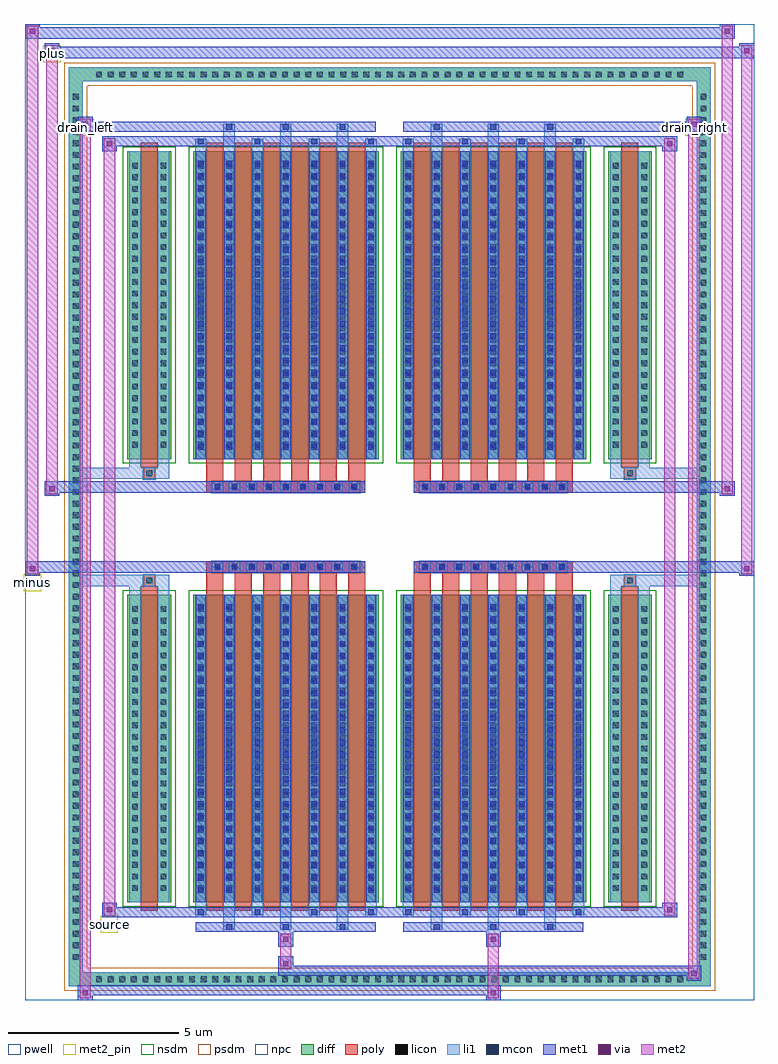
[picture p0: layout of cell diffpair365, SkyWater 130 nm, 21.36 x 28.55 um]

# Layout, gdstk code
import gdstk
lib = gdstk.Library(unit=1e-6, precision=5e-09)
def R(c, l, rs):  # rectangles x0, y0, x1, y1
    for r in rs: c.add(gdstk.rectangle(r[:2], r[2:], *l))
def A(c, l, x, y, w, h, nx, ny, dx, dy):  # array of equal rectangles
    R(c, l, [(x+i*dx, y+j*dy, x+i*dx+w, y+j*dy+h) for i in range(nx) for j in range(ny)])
def P(c, l, *ps):  # polygons
    for p in ps: c.add(gdstk.Polygon(p, *l))
pwell = (64, 44)
diff = (65, 20)
poly = (66, 20)
licon = (66, 44)
li1 = (67, 20)
mcon = (67, 44)
met1 = (68, 20)
via = (68, 44)
met2_pin = (69, 16)
met2 = (69, 20)
nsdm = (93, 44)
psdm = (94, 20)
npc = (95, 20)

diffpair365 = lib.new_cell('diffpair365')
R(diffpair365, pwell, [(-10.66,-13.84,10.66,14.71), (-7.98,-12.03,-0.01,-0.805), (0.01,-12.03,7.98,-0.805), (-7.98,0.805,-0.01,12.03), (0.01,0.805,7.98,12.03)])
A(diffpair365, diff, -8.705, -13.44, 0.41, 0.41, 51, 2, 0.34, 26.47)
A(diffpair365, diff, -9.39, -12.785, 0.41, 0.41, 1, 75, 0, 0.34)
A(diffpair365, diff, 8.98, -12.785, 0.41, 0.41, 1, 75, 0, 0.34)
R(diffpair365, diff, [(-8.705,-13.44,8.705,-13.03), (-9.39,-12.785,-8.98,12.785), (8.98,-12.785,9.39,12.785), (-7.67,-10.985,-6.39,-1.985), (-5.75,-10.985,-0.32,-1.985), (0.32,-10.985,5.75,-1.985), (6.39,-10.985,7.67,-1.985), (-7.67,1.985,-6.39,10.985), (-5.75,1.985,-0.32,10.985), (0.32,1.985,5.75,10.985), (6.39,1.985,7.67,10.985), (-8.705,13.03,8.705,13.44)])
P(diffpair365, diff, [(9.39,13.44),(-9.39,13.44),(-9.39,-13.03),(-8.98,-13.03),(-8.98,13.03),(8.98,13.03),(8.98,-13.03),(-8.98,-13.03),(-9.39,-13.03),(-9.39,-13.44),(9.39,-13.44)])
A(diffpair365, poly, -5.36, -11.235, 0.5, 9.5, 6, 2, 0.83, 12.97)
A(diffpair365, poly, 0.71, -11.235, 0.5, 9.5, 6, 2, 0.83, 12.97)
A(diffpair365, poly, -5.36, -1.735, 0.5, 0.4, 6, 2, 0.83, 3.07)
A(diffpair365, poly, 0.71, -1.735, 0.5, 0.4, 6, 2, 0.83, 3.07)
A(diffpair365, poly, -5.2, -1.335, 0.33, 0.33, 9, 2, 0.5, 2.34)
A(diffpair365, poly, 0.87, -1.335, 0.33, 0.33, 9, 2, 0.5, 2.34)
R(diffpair365, poly, [(-7.28,-11.235,-6.78,-1.735), (6.78,-11.235,7.28,-1.735), (-7.195,-1.735,-6.865,-1.405), (-7.195,-1.735,-6.865,-1.405), (6.865,-1.735,7.195,-1.405), (6.865,-1.735,7.195,-1.405), (-5.36,-1.335,-0.71,-1.005), (0.71,-1.335,5.36,-1.005), (-5.36,1.005,-0.71,1.335), (0.71,1.005,5.36,1.335), (-7.195,1.405,-6.865,1.735), (-7.195,1.405,-6.865,1.735), (6.865,1.405,7.195,1.735), (6.865,1.405,7.195,1.735), (-7.28,1.735,-6.78,11.235), (6.78,1.735,7.28,11.235)])
A(diffpair365, licon, -8.585, -13.32, 0.17, 0.17, 51, 2, 0.34, 26.47)
A(diffpair365, licon, -9.27, -12.665, 0.17, 0.17, 1, 75, 0, 0.34)
A(diffpair365, licon, 9.1, -12.665, 0.17, 0.17, 1, 75, 0, 0.34)
A(diffpair365, licon, -7.53, -10.65, 0.17, 0.17, 1, 25, 0, 0.34)
A(diffpair365, licon, -6.7, -10.65, 0.17, 0.17, 1, 25, 0, 0.34)
A(diffpair365, licon, -5.61, -10.65, 0.17, 0.17, 7, 25, 0.83, 0.34)
A(diffpair365, licon, 0.46, -10.65, 0.17, 0.17, 7, 25, 0.83, 0.34)
A(diffpair365, licon, 6.53, -10.65, 0.17, 0.17, 1, 25, 0, 0.34)
A(diffpair365, licon, 7.36, -10.65, 0.17, 0.17, 1, 25, 0, 0.34)
A(diffpair365, licon, -5.12, -1.255, 0.17, 0.17, 9, 2, 0.5, 2.34)
A(diffpair365, licon, 0.95, -1.255, 0.17, 0.17, 9, 2, 0.5, 2.34)
A(diffpair365, licon, -7.53, 2.32, 0.17, 0.17, 1, 25, 0, 0.34)
A(diffpair365, licon, -6.7, 2.32, 0.17, 0.17, 1, 25, 0, 0.34)
A(diffpair365, licon, -5.61, 2.32, 0.17, 0.17, 7, 25, 0.83, 0.34)
A(diffpair365, licon, 0.46, 2.32, 0.17, 0.17, 7, 25, 0.83, 0.34)
A(diffpair365, licon, 6.53, 2.32, 0.17, 0.17, 1, 25, 0, 0.34)
A(diffpair365, licon, 7.36, 2.32, 0.17, 0.17, 1, 25, 0, 0.34)
R(diffpair365, licon, [(-7.115,-1.655,-6.945,-1.485), (6.945,-1.655,7.115,-1.485), (-7.115,1.485,-6.945,1.655), (6.945,1.485,7.115,1.655)])
A(diffpair365, li1, -8.665, -13.4, 0.33, 0.33, 51, 2, 0.34, 26.47)
A(diffpair365, li1, -9.35, -12.745, 0.33, 0.33, 1, 75, 0, 0.34)
A(diffpair365, li1, 9.02, -12.745, 0.33, 0.33, 1, 75, 0, 0.34)
A(diffpair365, li1, -4.86, -11.79, 0.33, 0.805, 3, 2, 1.66, 22.775)
A(diffpair365, li1, -4.78, -11.79, 0.17, 0.17, 3, 2, 1.66, 23.41)
A(diffpair365, li1, 1.21, -11.79, 0.33, 0.805, 3, 2, 1.66, 22.775)
A(diffpair365, li1, 1.29, -11.79, 0.17, 0.17, 3, 2, 1.66, 23.41)
A(diffpair365, li1, -5.69, -11.36, 0.33, 0.375, 4, 2, 1.66, 22.345)
A(diffpair365, li1, -5.61, -11.36, 0.17, 0.17, 4, 2, 1.66, 22.55)
A(diffpair365, li1, 0.38, -11.36, 0.33, 0.375, 4, 2, 1.66, 22.345)
A(diffpair365, li1, 0.46, -11.36, 0.17, 0.17, 4, 2, 1.66, 22.55)
A(diffpair365, li1, -5.69, -10.985, 0.33, 9, 7, 2, 0.83, 12.97)
A(diffpair365, li1, 0.38, -10.985, 0.33, 9, 7, 2, 0.83, 12.97)
A(diffpair365, li1, -7.61, -10.73, 0.33, 0.33, 1, 25, 0, 0.34)
A(diffpair365, li1, -6.78, -10.73, 0.33, 0.33, 1, 25, 0, 0.34)
A(diffpair365, li1, -5.69, -10.73, 0.33, 0.33, 7, 25, 0.83, 0.34)
A(diffpair365, li1, 0.38, -10.73, 0.33, 0.33, 7, 25, 0.83, 0.34)
A(diffpair365, li1, 6.45, -10.73, 0.33, 0.33, 1, 25, 0, 0.34)
A(diffpair365, li1, 7.28, -10.73, 0.33, 0.33, 1, 25, 0, 0.34)
A(diffpair365, li1, -5.61, -10.71, 0.17, 0.17, 7, 24, 0.83, 0.36)
A(diffpair365, li1, -5.61, -10.71, 0.17, 8.45, 7, 2, 0.83, 12.97)
A(diffpair365, li1, 0.46, -10.71, 0.17, 0.17, 7, 24, 0.83, 0.36)
A(diffpair365, li1, 0.46, -10.71, 0.17, 8.45, 7, 2, 0.83, 12.97)
A(diffpair365, li1, -5.2, -1.335, 0.33, 0.33, 9, 2, 0.5, 2.34)
A(diffpair365, li1, 0.87, -1.335, 0.33, 0.33, 9, 2, 0.5, 2.34)
A(diffpair365, li1, -7.61, 2.24, 0.33, 0.33, 1, 25, 0, 0.34)
A(diffpair365, li1, -6.78, 2.24, 0.33, 0.33, 1, 25, 0, 0.34)
A(diffpair365, li1, -5.69, 2.24, 0.33, 0.33, 7, 25, 0.83, 0.34)
A(diffpair365, li1, 0.38, 2.24, 0.33, 0.33, 7, 25, 0.83, 0.34)
A(diffpair365, li1, 6.45, 2.24, 0.33, 0.33, 1, 25, 0, 0.34)
A(diffpair365, li1, 7.28, 2.24, 0.33, 0.33, 1, 25, 0, 0.34)
A(diffpair365, li1, -5.61, 2.26, 0.17, 0.17, 7, 24, 0.83, 0.36)
A(diffpair365, li1, 0.46, 2.26, 0.17, 0.17, 7, 24, 0.83, 0.36)
R(diffpair365, li1, [(-9.39,-13.44,-8.98,-13.03), (-9.39,-13.44,-8.98,-13.03), (-8.98,-13.44,8.98,-13.03), (8.98,-13.44,9.39,-13.03), (8.98,-13.44,9.39,-13.03), (-9.39,-13.03,-8.98,13.03), (8.98,-13.03,9.39,13.03), (-7.61,-10.985,-7.28,-1.985), (-6.78,-10.985,-6.45,-1.985), (6.45,-10.985,6.78,-1.985), (7.28,-10.985,7.61,-1.985), (-7.61,-1.985,-7.28,-1.405), (-6.78,-1.985,-6.45,-1.405), (6.45,-1.985,6.78,-1.405), (7.28,-1.985,7.61,-1.405), (-9.39,-1.735,-7.195,-1.405), (-7.61,-1.735,-7.195,-1.405), (-7.195,-1.735,-6.865,-1.405), (-6.865,-1.735,-6.45,-1.405), (6.45,-1.735,6.865,-1.405), (6.865,-1.735,7.195,-1.405), (6.865,-1.735,9.39,-1.405), (7.195,-1.735,7.61,-1.405), (-9.39,1.405,-7.195,1.735), (-7.61,1.405,-7.195,1.735), (-7.61,1.405,-7.28,1.985), (-7.195,1.405,-6.865,1.735), (-6.865,1.405,-6.45,1.735), (-6.78,1.405,-6.45,1.985), (6.45,1.405,6.865,1.735), (6.45,1.405,6.78,1.985), (6.865,1.405,7.195,1.735), (6.865,1.405,9.39,1.735), (7.195,1.405,7.61,1.735), (7.28,1.405,7.61,1.985), (-7.61,1.985,-7.28,10.985), (-6.78,1.985,-6.45,10.985), (6.45,1.985,6.78,10.985), (7.28,1.985,7.61,10.985), (-9.39,13.03,-8.98,13.44), (-9.39,13.03,-8.98,13.44), (-8.98,13.03,8.98,13.44), (8.98,13.03,9.39,13.44), (8.98,13.03,9.39,13.44)])
A(diffpair365, mcon, -4.78, -11.79, 0.17, 0.17, 3, 2, 1.66, 23.41)
A(diffpair365, mcon, 1.29, -11.79, 0.17, 0.17, 3, 2, 1.66, 23.41)
A(diffpair365, mcon, -5.61, -11.36, 0.17, 0.17, 4, 2, 1.66, 22.55)
A(diffpair365, mcon, 0.46, -11.36, 0.17, 0.17, 4, 2, 1.66, 22.55)
A(diffpair365, mcon, -5.61, -10.71, 0.17, 0.17, 7, 24, 0.83, 0.36)
A(diffpair365, mcon, 0.46, -10.71, 0.17, 0.17, 7, 24, 0.83, 0.36)
A(diffpair365, mcon, -5.12, -1.255, 0.17, 0.17, 9, 2, 0.5, 2.34)
A(diffpair365, mcon, 0.95, -1.255, 0.17, 0.17, 9, 2, 0.5, 2.34)
A(diffpair365, mcon, -5.61, 2.26, 0.17, 0.17, 7, 24, 0.83, 0.36)
A(diffpair365, mcon, 0.46, 2.26, 0.17, 0.17, 7, 24, 0.83, 0.36)
A(diffpair365, met1, -4.84, -11.85, 0.29, 0.29, 3, 2, 1.66, 23.41)
A(diffpair365, met1, 1.23, -11.85, 0.29, 0.29, 3, 2, 1.66, 23.41)
A(diffpair365, met1, -5.67, -11.42, 0.29, 0.29, 4, 2, 1.66, 22.55)
A(diffpair365, met1, 0.4, -11.42, 0.29, 0.29, 4, 2, 1.66, 22.55)
A(diffpair365, met1, -5.67, -10.985, 0.29, 9, 7, 2, 0.83, 12.97)
A(diffpair365, met1, 0.4, -10.985, 0.29, 9, 7, 2, 0.83, 12.97)
A(diffpair365, met1, -5.67, -10.77, 0.29, 0.29, 7, 24, 0.83, 0.36)
A(diffpair365, met1, 0.4, -10.77, 0.29, 0.29, 7, 24, 0.83, 0.36)
A(diffpair365, met1, -5.18, -1.315, 0.29, 0.29, 9, 2, 0.5, 2.34)
A(diffpair365, met1, 0.89, -1.315, 0.29, 0.29, 9, 2, 0.5, 2.34)
A(diffpair365, met1, -5.67, 2.2, 0.29, 0.29, 7, 24, 0.83, 0.36)
A(diffpair365, met1, 0.4, 2.2, 0.29, 0.29, 7, 24, 0.83, 0.36)
R(diffpair365, met1, [(-9.12,-13.84,-8.69,-13.41), (2.82,-13.84,3.25,-13.41), (-9.12,-13.7,3.25,-13.41), (8.69,-13.27,9.12,-12.84), (-3.25,-13.13,9.12,-12.84), (-3.25,-12.99,-2.82,-12.56), (-3.25,-12.28,-2.82,-11.85), (2.82,-12.28,3.25,-11.85), (-5.67,-11.85,-0.4,-11.56), (0.4,-11.85,5.67,-11.56), (-8.41,-11.42,-7.98,-10.99), (-8.41,-11.42,-5.67,-11.13), (-5.67,-11.42,-0.4,-11.13), (-0.4,-11.42,0.4,-11.13), (0.4,-11.42,5.67,-11.13), (5.67,-11.42,8.41,-11.13), (7.98,-11.42,8.41,-10.99), (-10.66,-1.435,-10.23,-1.005), (10.23,-1.435,10.66,-1.005), (-10.66,-1.335,-0.71,-1.005), (-5.36,-1.335,-0.71,-1.005), (0.71,-1.335,5.36,-1.005), (0.71,-1.335,10.66,-1.005), (-10.09,0.905,-9.66,1.335), (9.66,0.905,10.09,1.335), (-10.09,1.005,-5.36,1.335), (-5.36,1.005,-0.71,1.335), (0.71,1.005,5.36,1.335), (5.36,1.005,10.09,1.335), (-8.41,10.99,-7.98,11.42), (7.98,10.99,8.41,11.42), (-8.41,11.13,-5.67,11.42), (-5.67,11.13,-0.4,11.42), (-0.4,11.13,0.4,11.42), (0.4,11.13,5.67,11.42), (5.67,11.13,8.41,11.42), (-9.12,11.56,-8.69,11.99), (-9.12,11.56,-5.67,11.85), (-5.67,11.56,-0.4,11.85), (0.4,11.56,5.67,11.85), (5.67,11.56,9.12,11.85), (8.69,11.56,9.12,11.99), (-10.09,13.71,-9.66,14.14), (-10.09,13.71,-7.98,14.04), (-7.98,13.71,7.98,14.04), (7.98,13.71,10.66,14.04), (10.23,13.71,10.66,14.14), (-10.66,14.28,-10.23,14.71), (-10.66,14.28,-7.98,14.61), (-7.98,14.28,7.98,14.61), (7.98,14.28,10.09,14.61), (9.66,14.28,10.09,14.71)])
R(diffpair365, via, [(-8.98,-13.7,-8.83,-13.55), (2.96,-13.7,3.11,-13.55), (8.83,-13.13,8.98,-12.98), (-3.11,-12.85,-2.96,-12.7), (-3.11,-12.14,-2.96,-11.99), (2.96,-12.14,3.11,-11.99), (-8.27,-11.28,-8.12,-11.13), (8.12,-11.28,8.27,-11.13), (-10.52,-1.295,-10.37,-1.145), (10.37,-1.295,10.52,-1.145), (-9.95,1.045,-9.8,1.195), (9.8,1.045,9.95,1.195), (-8.27,11.13,-8.12,11.28), (8.12,11.13,8.27,11.28), (-8.98,11.7,-8.83,11.85), (8.83,11.7,8.98,11.85), (-9.95,13.85,-9.8,14), (10.37,13.85,10.52,14), (-10.52,14.42,-10.37,14.57), (9.8,14.42,9.95,14.57)])
R(diffpair365, met2_pin, [(-8.445,-11.87,-7.945,-11.37), (-10.695,-1.885,-10.195,-1.385), (-9.155,11.44,-8.655,11.94), (8.655,11.44,9.155,11.94), (-10.125,13.59,-9.625,14.09)])
R(diffpair365, met2, [(-9.07,-13.79,-8.74,-13.46), (-9.07,-13.79,-8.74,11.94), (2.87,-13.79,3.2,-13.46), (2.87,-13.46,3.2,-12.23), (8.74,-13.22,9.07,-12.89), (8.74,-13.22,9.07,11.94), (-3.2,-12.94,-2.87,-12.61), (-3.2,-12.61,-2.87,-12.23), (-3.2,-12.23,-2.87,-11.9), (2.87,-12.23,3.2,-11.9), (-8.36,-11.37,-8.03,-11.04), (-8.36,-11.37,-8.03,11.37), (8.03,-11.37,8.36,-11.04), (8.03,-11.37,8.36,11.37), (-10.61,-1.385,-10.28,-1.055), (-10.61,-1.385,-10.28,14.66), (10.28,-1.385,10.61,-1.055), (10.28,-1.385,10.61,14.09), (-10.04,0.955,-9.71,1.285), (-10.04,0.955,-9.71,14.09), (9.71,0.955,10.04,1.285), (9.71,0.955,10.04,14.66), (-8.36,11.04,-8.03,11.37), (8.03,11.04,8.36,11.37), (-9.07,11.61,-8.74,11.94), (8.74,11.61,9.07,11.94), (-10.04,13.76,-9.71,14.09), (10.28,13.76,10.61,14.09), (-10.61,14.33,-10.28,14.66), (9.71,14.33,10.04,14.66)])
P(diffpair365, met2, [(10.61,-1.385),(10.61,-1.385),(10.61,-1.055),(10.61,-1.055)],
  [(10.61,13.76),(10.61,13.76),(10.61,14.09),(10.61,14.09)],
  [(-10.28,-1.385),(-10.28,-1.385),(-10.28,-1.055),(-10.28,-1.055)],
  [(-10.28,14.33),(-10.28,14.33),(-10.28,14.66),(-10.28,14.66)],
  [(10.04,0.955),(10.04,0.955),(10.04,1.285),(10.04,1.285)],
  [(10.04,14.33),(10.04,14.33),(10.04,14.66),(10.04,14.66)],
  [(-9.71,0.955),(-9.71,0.955),(-9.71,1.285),(-9.71,1.285)],
  [(-9.71,13.76),(-9.71,13.76),(-9.71,14.09),(-9.71,14.09)],
  [(-8.74,-13.79),(-8.74,-13.79),(-8.74,-13.46),(-8.74,-13.46)],
  [(-8.74,11.61),(-8.74,11.61),(-8.74,11.94),(-8.74,11.94)],
  [(9.07,-13.22),(9.07,-13.22),(9.07,-12.89),(9.07,-12.89)],
  [(9.07,11.61),(9.07,11.61),(9.07,11.94),(9.07,11.94)],
  [(-8.03,-11.37),(-8.03,-11.37),(-8.03,-11.04),(-8.03,-11.04)],
  [(-8.03,11.04),(-8.03,11.04),(-8.03,11.37),(-8.03,11.37)],
  [(8.36,-11.37),(8.36,-11.37),(8.36,-11.04),(8.36,-11.04)],
  [(8.36,11.04),(8.36,11.04),(8.36,11.37),(8.36,11.37)])
R(diffpair365, nsdm, [(-7.8,-11.115,-6.26,-1.855), (-5.88,-11.115,-0.19,-1.855), (0.19,-11.115,5.88,-1.855), (6.26,-11.115,7.8,-1.855), (-7.8,1.855,-6.26,11.115), (-5.88,1.855,-0.19,11.115), (0.19,1.855,5.88,11.115), (6.26,1.855,7.8,11.115)])
P(diffpair365, psdm, [(9.52,13.57),(-9.52,13.57),(-9.52,-12.9),(-8.85,-12.9),(-8.85,12.9),(8.85,12.9),(8.85,-12.9),(-8.85,-12.9),(-9.52,-12.9),(-9.52,-13.57),(9.52,-13.57)])
A(diffpair365, npc, -5.22, -1.355, 0.37, 0.37, 9, 2, 0.5, 2.34)
A(diffpair365, npc, 0.85, -1.355, 0.37, 0.37, 9, 2, 0.5, 2.34)
R(diffpair365, npc, [(-7.215,-1.755,-6.845,-1.385), (6.845,-1.755,7.215,-1.385), (-5.22,-1.355,-4.35,-0.985), (-5.22,-1.355,-4.35,-0.985), (-4.72,-1.355,-3.85,-0.985), (-4.72,-1.355,-3.85,-0.985), (-4.22,-1.355,-3.35,-0.985), (-4.22,-1.355,-3.35,-0.985), (-3.72,-1.355,-2.85,-0.985), (-3.72,-1.355,-2.85,-0.985), (-3.22,-1.355,-2.35,-0.985), (-3.22,-1.355,-2.35,-0.985), (-2.72,-1.355,-1.85,-0.985), (-2.72,-1.355,-1.85,-0.985), (-2.22,-1.355,-1.35,-0.985), (-2.22,-1.355,-1.35,-0.985), (-1.72,-1.355,-0.85,-0.985), (-1.72,-1.355,-0.85,-0.985), (0.85,-1.355,1.72,-0.985), (0.85,-1.355,1.72,-0.985), (1.35,-1.355,2.22,-0.985), (1.35,-1.355,2.22,-0.985), (1.85,-1.355,2.72,-0.985), (1.85,-1.355,2.72,-0.985), (2.35,-1.355,3.22,-0.985), (2.35,-1.355,3.22,-0.985), (2.85,-1.355,3.72,-0.985), (2.85,-1.355,3.72,-0.985), (3.35,-1.355,4.22,-0.985), (3.35,-1.355,4.22,-0.985), (3.85,-1.355,4.72,-0.985), (3.85,-1.355,4.72,-0.985), (4.35,-1.355,5.22,-0.985), (4.35,-1.355,5.22,-0.985), (-5.22,0.985,-4.35,1.355), (-5.22,0.985,-4.35,1.355), (-4.72,0.985,-3.85,1.355), (-4.72,0.985,-3.85,1.355), (-4.22,0.985,-3.35,1.355), (-4.22,0.985,-3.35,1.355), (-3.72,0.985,-2.85,1.355), (-3.72,0.985,-2.85,1.355), (-3.22,0.985,-2.35,1.355), (-3.22,0.985,-2.35,1.355), (-2.72,0.985,-1.85,1.355), (-2.72,0.985,-1.85,1.355), (-2.22,0.985,-1.35,1.355), (-2.22,0.985,-1.35,1.355), (-1.72,0.985,-0.85,1.355), (-1.72,0.985,-0.85,1.355), (0.85,0.985,1.72,1.355), (0.85,0.985,1.72,1.355), (1.35,0.985,2.22,1.355), (1.35,0.985,2.22,1.355), (1.85,0.985,2.72,1.355), (1.85,0.985,2.72,1.355), (2.35,0.985,3.22,1.355), (2.35,0.985,3.22,1.355), (2.85,0.985,3.72,1.355), (2.85,0.985,3.72,1.355), (3.35,0.985,4.22,1.355), (3.35,0.985,4.22,1.355), (3.85,0.985,4.72,1.355), (3.85,0.985,4.72,1.355), (4.35,0.985,5.22,1.355), (4.35,0.985,5.22,1.355), (-7.215,1.385,-6.845,1.755), (6.845,1.385,7.215,1.755)])
diffpair365.add(gdstk.Label('minus', (-10.445,-1.635), layer=69, texttype=5))
diffpair365.add(gdstk.Label('drain_right', (8.905,11.69), layer=69, texttype=5))
diffpair365.add(gdstk.Label('drain_left', (-8.905,11.69), layer=69, texttype=5))
diffpair365.add(gdstk.Label('source', (-8.195,-11.62), layer=69, texttype=5))
diffpair365.add(gdstk.Label('plus', (-9.875,13.84), layer=69, texttype=5))

lib.write_gds('diffpair365.gds')
